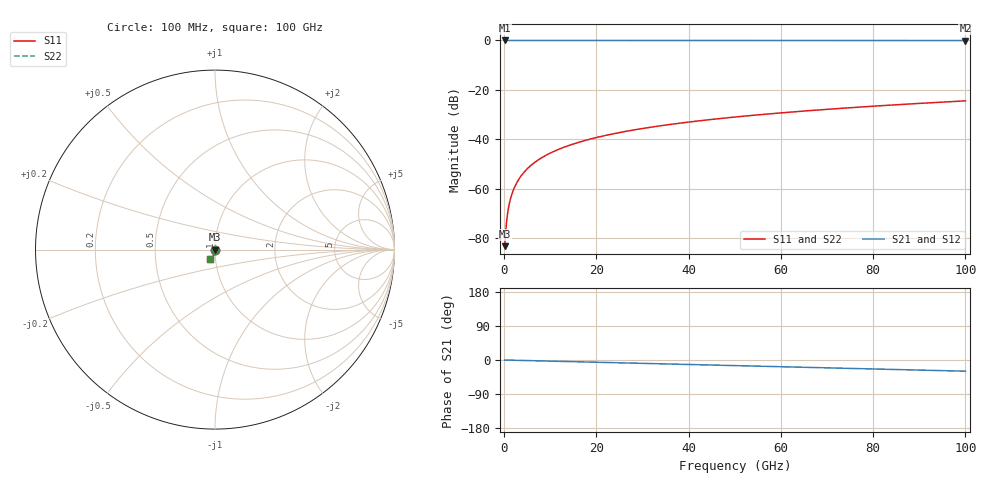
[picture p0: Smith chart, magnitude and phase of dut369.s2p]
! Touchstone file exported from HFSS 2026.1.0
!  File:  C:/ffzhzh/LocalFiles/Ansys_Project_Files/temp_train_TSV_369_1783510340_31944.aedt
!  Generated:  07:33:27 PM Jul  8, 2026
!  Design:  TSV
!  Project:  temp_train_TSV_369_1783510340_31944
! Variables:
!  h_bsmrdl = 2um
!  h_ox = 20um
!  h_rdl = 5um
!  h_sub = 55.44um
!  h_tmrdl = 5um
!  h_tsv = 55.44um
!  h_via = 3um
!  l_bsmrdl = 300um
!  l_sub = 426.96um
!  l_tmrdl = 200um
!  m_sub = 200um
!  pitch = 48.24um
!  r_tsv = 13.48um
!  s_tmrdl = 10um
!  w_bsmrdl = 18um
!  w_sub = 500um
!  w_tmrdl = 12um
!  x_tsv_center1 = 206um
!  x_tsv_center2 = 524um
!  x_tsv_center3 = 736um
!  x_tsv_center4 = 1054um
!  x_tsv_center5 = 1266um
!  x_tsv_center6 = 1584um
# GHz S MA R 50.000000
! Terminal data exported
! Port[1] = TSV1_1_T1
! Port[2] = TSV1_1_T2
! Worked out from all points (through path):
!   1000 points, 100 MHz to 100 GHz, reference 50 ohm
!   highest |S21| = 0.00 dB at 100 MHz (marker M1); lowest = 0.0 dB at 100 GHz (marker M2)
!   group delay of S21, straight-line fit = 820 fs
!   lowest |S11| = -83.2 dB at 100 MHz (marker M3), VSWR 1.00, Z = 50 - j0.0024 ohm
!   |S11| at or under -10 dB: start of sweep to end of sweep
!   |S22| runs from -83.2 to -24.4 dB; largest |S21 - S12| = 2.1e-15
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0.1  6.942e-05 -20.2  0.9999 -0.0  0.9999 -0.0  6.942e-05 -20.2
! Gamma 0 0 0 0
! Port Impedance 50 0 50 0
0.4  0.000162 -49.1  0.9999 -0.1  0.9999 -0.1  0.000162 -49.1
1  0.0004429 -66.6  0.9998 -0.3  0.9998 -0.3  0.0004429 -66.6
1.3  0.0005916 -70.5  0.9998 -0.4  0.9998 -0.4  0.0005916 -70.5
1.6  0.0007421 -73.1  0.9998 -0.5  0.9998 -0.5  0.0007421 -73.1
2.1  0.0009966 -75.9  0.9997 -0.6  0.9997 -0.6  0.0009966 -75.9
2.7  0.001308 -78.1  0.9997 -0.8  0.9997 -0.8  0.001308 -78.1
3.4  0.001678 -79.9  0.9997 -1.0  0.9997 -1.0  0.001678 -79.9
4.2  0.002107 -81.4  0.9996 -1.3  0.9996 -1.3  0.002107 -81.4
5.2  0.002649 -82.8  0.9996 -1.5  0.9996 -1.5  0.002649 -82.8
6.3  0.003248 -84.0  0.9996 -1.9  0.9996 -1.9  0.003248 -84.0
7.6  0.003961 -85.2  0.9995 -2.3  0.9995 -2.3  0.003961 -85.2
9.1  0.004788 -86.3  0.9995 -2.7  0.9995 -2.7  0.004788 -86.3
12.6  0.006728 -88.3  0.9993 -3.7  0.9993 -3.7  0.006728 -88.3
16.8  0.009086 -90.3  0.9992 -5.0  0.9992 -5.0  0.009086 -90.2
24.1  0.01323 -93.3  0.999 -7.1  0.999 -7.1  0.01323 -93.3
33.4  0.01856 -96.7  0.9988 -9.8  0.9988 -9.8  0.01856 -96.7
41.2  0.0231 -99.3  0.9986 -12.1  0.9986 -12.1  0.0231 -99.3
50.1  0.02836 -102.2  0.9983 -14.8  0.9983 -14.8  0.02836 -102.2
66.7  0.03847 -107.5  0.9977 -19.7  0.9977 -19.7  0.03847 -107.4
83.4  0.04908 -112.7  0.9971 -24.6  0.9971 -24.6  0.04908 -112.7
100  0.06007 -118.1  0.9961 -29.6  0.9961 -29.6  0.06007 -118.1
